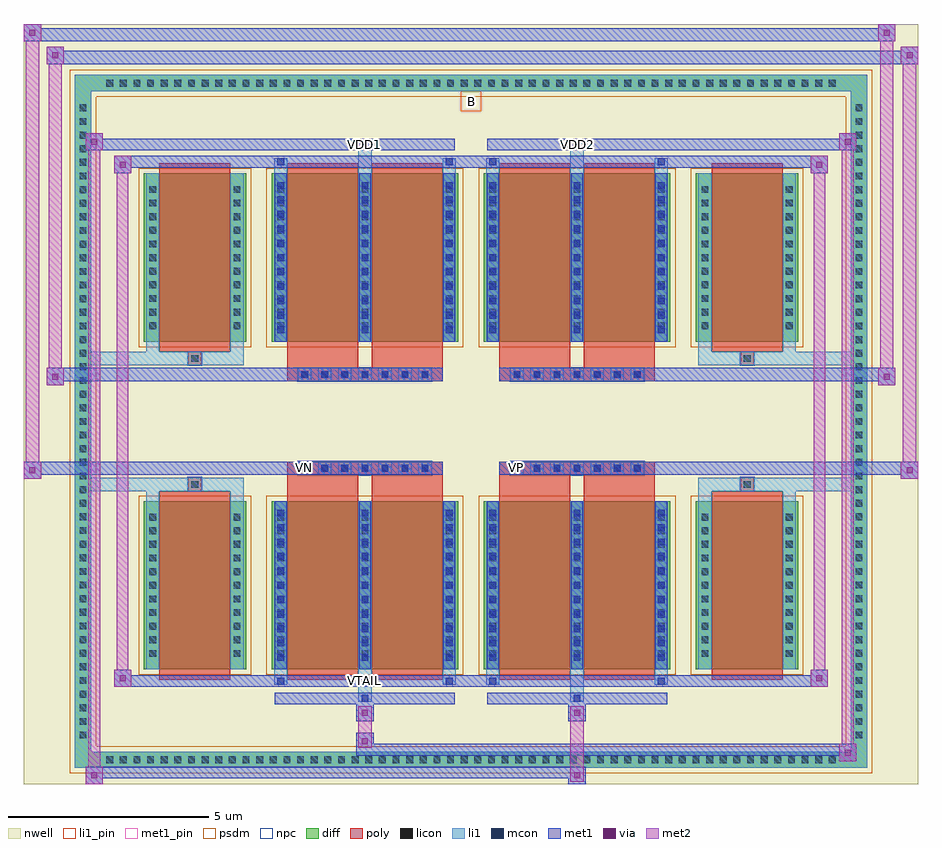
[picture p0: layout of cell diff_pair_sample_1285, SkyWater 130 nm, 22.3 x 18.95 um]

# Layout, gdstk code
import gdstk
lib = gdstk.Library(unit=1e-6, precision=5e-09)
def R(c, l, rs):  # rectangles x0, y0, x1, y1
    for r in rs: c.add(gdstk.rectangle(r[:2], r[2:], *l))
def A(c, l, x, y, w, h, nx, ny, dx, dy):  # array of equal rectangles
    R(c, l, [(x+i*dx, y+j*dy, x+i*dx+w, y+j*dy+h) for i in range(nx) for j in range(ny)])
def P(c, l, *ps):  # polygons
    for p in ps: c.add(gdstk.Polygon(p, *l))
nwell = (64, 20)
diff = (65, 20)
poly = (66, 20)
licon = (66, 44)
li1_pin = (67, 16)
li1 = (67, 20)
mcon = (67, 44)
met1_pin = (68, 16)
met1 = (68, 20)
via = (68, 44)
met2 = (69, 20)
psdm = (94, 20)
npc = (95, 20)

diff_pair_sample_1285 = lib.new_cell('diff_pair_sample_1285')
R(diff_pair_sample_1285, nwell, [(-11.15,-9.04,11.15,9.91), (-8.47,-7.23,-0.01,-0.805), (0.01,-7.23,8.47,-0.805), (-8.47,0.805,-0.01,7.23), (0.01,0.805,8.47,7.23)])
A(diff_pair_sample_1285, diff, -9.215, -8.64, 0.41, 0.41, 54, 2, 0.34, 16.87)
A(diff_pair_sample_1285, diff, -9.88, -8.025, 0.41, 0.41, 1, 47, 0, 0.34)
A(diff_pair_sample_1285, diff, 9.47, -8.025, 0.41, 0.41, 1, 47, 0, 0.34)
R(diff_pair_sample_1285, diff, [(-9.215,-8.64,9.215,-8.23), (-9.88,-8.025,-9.47,8.025), (9.47,-8.025,9.88,8.025), (-8.16,-6.185,-5.61,-1.985), (-4.97,-6.185,-0.32,-1.985), (0.32,-6.185,4.97,-1.985), (5.61,-6.185,8.16,-1.985), (-8.16,1.985,-5.61,6.185), (-4.97,1.985,-0.32,6.185), (0.32,1.985,4.97,6.185), (5.61,1.985,8.16,6.185), (-9.215,8.23,9.215,8.64)])
P(diff_pair_sample_1285, diff, [(9.88,8.64),(-9.88,8.64),(-9.88,-8.23),(-9.47,-8.23),(-9.47,8.23),(9.47,8.23),(9.47,-8.23),(-9.47,-8.23),(-9.88,-8.23),(-9.88,-8.64),(9.88,-8.64)])
A(diff_pair_sample_1285, poly, -4.31, -1.335, 0.33, 0.33, 7, 2, 0.5, 2.34)
A(diff_pair_sample_1285, poly, 0.98, -1.335, 0.33, 0.33, 7, 2, 0.5, 2.34)
R(diff_pair_sample_1285, poly, [(-7.77,-6.435,-6,-1.735), (-4.58,-6.435,-2.81,-1.735), (-2.48,-6.435,-0.71,-1.735), (0.71,-6.435,2.48,-1.735), (2.81,-6.435,4.58,-1.735), (6,-6.435,7.77,-1.735), (-7.05,-1.735,-6.72,-1.405), (-7.05,-1.735,-6.72,-1.405), (-4.58,-1.735,-2.81,-1.335), (-2.48,-1.735,-0.71,-1.335), (0.71,-1.735,2.48,-1.335), (2.81,-1.735,4.58,-1.335), (6.72,-1.735,7.05,-1.405), (6.72,-1.735,7.05,-1.405), (-4.58,-1.335,-0.71,-1.005), (0.71,-1.335,4.58,-1.005), (-4.58,1.005,-0.71,1.335), (0.71,1.005,4.58,1.335), (-4.58,1.335,-2.81,1.735), (-2.48,1.335,-0.71,1.735), (0.71,1.335,2.48,1.735), (2.81,1.335,4.58,1.735), (-7.05,1.405,-6.72,1.735), (-7.05,1.405,-6.72,1.735), (6.72,1.405,7.05,1.735), (6.72,1.405,7.05,1.735), (-7.77,1.735,-6,6.435), (-4.58,1.735,-2.81,6.435), (-2.48,1.735,-0.71,6.435), (0.71,1.735,2.48,6.435), (2.81,1.735,4.58,6.435), (6,1.735,7.77,6.435)])
A(diff_pair_sample_1285, licon, -9.095, -8.52, 0.17, 0.17, 54, 2, 0.34, 16.87)
A(diff_pair_sample_1285, licon, -9.76, -7.905, 0.17, 0.17, 1, 47, 0, 0.34)
A(diff_pair_sample_1285, licon, 9.59, -7.905, 0.17, 0.17, 1, 47, 0, 0.34)
A(diff_pair_sample_1285, licon, -8.02, -5.87, 0.17, 0.17, 1, 11, 0, 0.34)
A(diff_pair_sample_1285, licon, -5.92, -5.87, 0.17, 0.17, 1, 11, 0, 0.34)
A(diff_pair_sample_1285, licon, -4.83, -5.87, 0.17, 0.17, 3, 11, 2.1, 0.34)
A(diff_pair_sample_1285, licon, 0.46, -5.87, 0.17, 0.17, 3, 11, 2.1, 0.34)
A(diff_pair_sample_1285, licon, 5.75, -5.87, 0.17, 0.17, 1, 11, 0, 0.34)
A(diff_pair_sample_1285, licon, 7.85, -5.87, 0.17, 0.17, 1, 11, 0, 0.34)
A(diff_pair_sample_1285, licon, -4.23, -1.255, 0.17, 0.17, 7, 2, 0.5, 2.34)
A(diff_pair_sample_1285, licon, 1.06, -1.255, 0.17, 0.17, 7, 2, 0.5, 2.34)
A(diff_pair_sample_1285, licon, -8.02, 2.3, 0.17, 0.17, 1, 11, 0, 0.34)
A(diff_pair_sample_1285, licon, -5.92, 2.3, 0.17, 0.17, 1, 11, 0, 0.34)
A(diff_pair_sample_1285, licon, -4.83, 2.3, 0.17, 0.17, 3, 11, 2.1, 0.34)
A(diff_pair_sample_1285, licon, 0.46, 2.3, 0.17, 0.17, 3, 11, 2.1, 0.34)
A(diff_pair_sample_1285, licon, 5.75, 2.3, 0.17, 0.17, 1, 11, 0, 0.34)
A(diff_pair_sample_1285, licon, 7.85, 2.3, 0.17, 0.17, 1, 11, 0, 0.34)
R(diff_pair_sample_1285, licon, [(-6.97,-1.655,-6.8,-1.485), (6.8,-1.655,6.97,-1.485), (-6.97,1.485,-6.8,1.655), (6.8,1.485,6.97,1.655)])
R(diff_pair_sample_1285, li1_pin, [(-0.25,7.73,0.25,8.23)])
A(diff_pair_sample_1285, li1, -9.175, -8.6, 0.33, 0.33, 54, 2, 0.34, 16.87)
A(diff_pair_sample_1285, li1, -9.84, -7.985, 0.33, 0.33, 1, 47, 0, 0.34)
A(diff_pair_sample_1285, li1, 9.51, -7.985, 0.33, 0.33, 1, 47, 0, 0.34)
A(diff_pair_sample_1285, li1, -4.91, -6.185, 0.33, 4.2, 3, 2, 2.1, 8.17)
A(diff_pair_sample_1285, li1, 0.38, -6.185, 0.33, 4.2, 3, 2, 2.1, 8.17)
A(diff_pair_sample_1285, li1, -4.83, -5.97, 0.17, 0.17, 3, 11, 2.1, 0.36)
A(diff_pair_sample_1285, li1, -4.83, -5.97, 0.17, 3.77, 3, 2, 2.1, 8.17)
A(diff_pair_sample_1285, li1, 0.46, -5.97, 0.17, 0.17, 3, 11, 2.1, 0.36)
A(diff_pair_sample_1285, li1, 0.46, -5.97, 0.17, 3.77, 3, 2, 2.1, 8.17)
A(diff_pair_sample_1285, li1, -8.1, -5.95, 0.33, 0.33, 1, 11, 0, 0.34)
A(diff_pair_sample_1285, li1, -6, -5.95, 0.33, 0.33, 1, 11, 0, 0.34)
A(diff_pair_sample_1285, li1, -4.91, -5.95, 0.33, 0.33, 3, 11, 2.1, 0.34)
A(diff_pair_sample_1285, li1, 0.38, -5.95, 0.33, 0.33, 3, 11, 2.1, 0.34)
A(diff_pair_sample_1285, li1, 5.67, -5.95, 0.33, 0.33, 1, 11, 0, 0.34)
A(diff_pair_sample_1285, li1, 7.77, -5.95, 0.33, 0.33, 1, 11, 0, 0.34)
A(diff_pair_sample_1285, li1, -4.31, -1.335, 0.33, 0.33, 7, 2, 0.5, 2.34)
A(diff_pair_sample_1285, li1, 0.98, -1.335, 0.33, 0.33, 7, 2, 0.5, 2.34)
A(diff_pair_sample_1285, li1, -4.83, 2.2, 0.17, 0.17, 3, 11, 2.1, 0.36)
A(diff_pair_sample_1285, li1, 0.46, 2.2, 0.17, 0.17, 3, 11, 2.1, 0.36)
A(diff_pair_sample_1285, li1, -8.1, 2.22, 0.33, 0.33, 1, 11, 0, 0.34)
A(diff_pair_sample_1285, li1, -6, 2.22, 0.33, 0.33, 1, 11, 0, 0.34)
A(diff_pair_sample_1285, li1, -4.91, 2.22, 0.33, 0.33, 3, 11, 2.1, 0.34)
A(diff_pair_sample_1285, li1, 0.38, 2.22, 0.33, 0.33, 3, 11, 2.1, 0.34)
A(diff_pair_sample_1285, li1, 5.67, 2.22, 0.33, 0.33, 1, 11, 0, 0.34)
A(diff_pair_sample_1285, li1, 7.77, 2.22, 0.33, 0.33, 1, 11, 0, 0.34)
R(diff_pair_sample_1285, li1, [(-9.88,-8.64,-9.47,-8.23), (-9.88,-8.64,-9.47,-8.23), (-9.47,-8.64,9.47,-8.23), (9.47,-8.64,9.88,-8.23), (9.47,-8.64,9.88,-8.23), (-9.88,-8.23,-9.47,8.23), (9.47,-8.23,9.88,8.23), (-2.81,-6.99,-2.48,-6.185), (-2.73,-6.99,-2.56,-6.82), (2.48,-6.99,2.81,-6.185), (2.56,-6.99,2.73,-6.82), (-4.91,-6.56,-4.58,-6.185), (-4.83,-6.56,-4.66,-6.39), (-0.71,-6.56,-0.38,-6.185), (-0.63,-6.56,-0.46,-6.39), (0.38,-6.56,0.71,-6.185), (0.46,-6.56,0.63,-6.39), (4.58,-6.56,4.91,-6.185), (4.66,-6.56,4.83,-6.39), (-8.1,-6.185,-7.77,-1.985), (-6,-6.185,-5.67,-1.985), (5.67,-6.185,6,-1.985), (7.77,-6.185,8.1,-1.985), (-8.1,-1.985,-7.77,-1.405), (-6,-1.985,-5.67,-1.405), (5.67,-1.985,6,-1.405), (7.77,-1.985,8.1,-1.405), (-9.88,-1.735,-7.05,-1.405), (-8.1,-1.735,-7.05,-1.405), (-7.05,-1.735,-6.72,-1.405), (-6.72,-1.735,-5.67,-1.405), (5.67,-1.735,6.72,-1.405), (6.72,-1.735,7.05,-1.405), (6.72,-1.735,9.88,-1.405), (7.05,-1.735,8.1,-1.405), (-9.88,1.405,-7.05,1.735), (-8.1,1.405,-7.05,1.735), (-8.1,1.405,-7.77,1.985), (-7.05,1.405,-6.72,1.735), (-6.72,1.405,-5.67,1.735), (-6,1.405,-5.67,1.985), (5.67,1.405,6.72,1.735), (5.67,1.405,6,1.985), (6.72,1.405,7.05,1.735), (6.72,1.405,9.88,1.735), (7.05,1.405,8.1,1.735), (7.77,1.405,8.1,1.985), (-8.1,1.985,-7.77,6.185), (-6,1.985,-5.67,6.185), (5.67,1.985,6,6.185), (7.77,1.985,8.1,6.185), (-4.91,6.185,-4.58,6.56), (-2.81,6.185,-2.48,6.99), (-0.71,6.185,-0.38,6.56), (0.38,6.185,0.71,6.56), (2.48,6.185,2.81,6.99), (4.58,6.185,4.91,6.56), (-4.83,6.39,-4.66,6.56), (-0.63,6.39,-0.46,6.56), (0.46,6.39,0.63,6.56), (4.66,6.39,4.83,6.56), (-2.73,6.82,-2.56,6.99), (2.56,6.82,2.73,6.99), (-9.88,8.23,-9.47,8.64), (-9.88,8.23,-9.47,8.64), (-9.47,8.23,9.47,8.64), (9.47,8.23,9.88,8.64), (9.47,8.23,9.88,8.64)])
A(diff_pair_sample_1285, mcon, -4.83, -5.97, 0.17, 0.17, 3, 11, 2.1, 0.36)
A(diff_pair_sample_1285, mcon, 0.46, -5.97, 0.17, 0.17, 3, 11, 2.1, 0.36)
A(diff_pair_sample_1285, mcon, -4.23, -1.255, 0.17, 0.17, 7, 2, 0.5, 2.34)
A(diff_pair_sample_1285, mcon, 1.06, -1.255, 0.17, 0.17, 7, 2, 0.5, 2.34)
A(diff_pair_sample_1285, mcon, -4.83, 2.2, 0.17, 0.17, 3, 11, 2.1, 0.36)
A(diff_pair_sample_1285, mcon, 0.46, 2.2, 0.17, 0.17, 3, 11, 2.1, 0.36)
R(diff_pair_sample_1285, mcon, [(-2.73,-6.99,-2.56,-6.82), (2.56,-6.99,2.73,-6.82), (-4.83,-6.56,-4.66,-6.39), (-0.63,-6.56,-0.46,-6.39), (0.46,-6.56,0.63,-6.39), (4.66,-6.56,4.83,-6.39), (-4.83,6.39,-4.66,6.56), (-0.63,6.39,-0.46,6.56), (0.46,6.39,0.63,6.56), (4.66,6.39,4.83,6.56), (-2.73,6.82,-2.56,6.99), (2.56,6.82,2.73,6.99)])
R(diff_pair_sample_1285, met1_pin, [(-2.78,-6.6,-2.51,-6.33), (-4.28,-1.295,-4.01,-1.025), (1.01,-1.295,1.28,-1.025), (-2.78,6.78,-2.51,7.05), (2.51,6.78,2.78,7.05)])
A(diff_pair_sample_1285, met1, -4.89, -6.185, 0.29, 4.2, 3, 2, 2.1, 8.17)
A(diff_pair_sample_1285, met1, 0.4, -6.185, 0.29, 4.2, 3, 2, 2.1, 8.17)
A(diff_pair_sample_1285, met1, -4.89, -6.03, 0.29, 0.29, 3, 11, 2.1, 0.36)
A(diff_pair_sample_1285, met1, 0.4, -6.03, 0.29, 0.29, 3, 11, 2.1, 0.36)
A(diff_pair_sample_1285, met1, -4.29, -1.315, 0.29, 0.29, 7, 2, 0.5, 2.34)
A(diff_pair_sample_1285, met1, 1, -1.315, 0.29, 0.29, 7, 2, 0.5, 2.34)
A(diff_pair_sample_1285, met1, -4.89, 2.14, 0.29, 0.29, 3, 11, 2.1, 0.36)
A(diff_pair_sample_1285, met1, 0.4, 2.14, 0.29, 0.29, 3, 11, 2.1, 0.36)
R(diff_pair_sample_1285, met1, [(-9.61,-9.04,-9.18,-8.61), (2.43,-9.04,2.86,-8.61), (-9.61,-8.9,2.86,-8.61), (9.18,-8.47,9.61,-8.04), (-2.86,-8.33,9.61,-8.04), (-2.86,-8.19,-2.43,-7.76), (-2.86,-7.48,-2.43,-7.05), (2.43,-7.48,2.86,-7.05), (-4.89,-7.05,-0.4,-6.76), (-2.79,-7.05,-2.5,-6.76), (0.4,-7.05,4.89,-6.76), (2.5,-7.05,2.79,-6.76), (-8.9,-6.62,-8.47,-6.19), (-8.9,-6.62,-4.89,-6.33), (-4.89,-6.62,-4.6,-6.33), (-4.89,-6.62,-0.4,-6.33), (-0.69,-6.62,-0.4,-6.33), (-0.4,-6.62,0.4,-6.33), (0.4,-6.62,0.69,-6.33), (0.4,-6.62,4.89,-6.33), (4.6,-6.62,4.89,-6.33), (4.89,-6.62,8.9,-6.33), (8.47,-6.62,8.9,-6.19), (-11.15,-1.435,-10.72,-1.005), (10.72,-1.435,11.15,-1.005), (-11.15,-1.335,-0.71,-1.005), (-4.58,-1.335,-0.71,-1.005), (0.71,-1.335,4.58,-1.005), (0.71,-1.335,11.15,-1.005), (-10.58,0.905,-10.15,1.335), (10.15,0.905,10.58,1.335), (-10.58,1.005,-4.58,1.335), (-4.58,1.005,-0.71,1.335), (0.71,1.005,4.58,1.335), (4.58,1.005,10.58,1.335), (-8.9,6.19,-8.47,6.62), (8.47,6.19,8.9,6.62), (-8.9,6.33,-4.89,6.62), (-4.89,6.33,-4.6,6.62), (-4.89,6.33,-0.4,6.62), (-0.69,6.33,-0.4,6.62), (-0.4,6.33,0.4,6.62), (0.4,6.33,0.69,6.62), (0.4,6.33,4.89,6.62), (4.6,6.33,4.89,6.62), (4.89,6.33,8.9,6.62), (-9.61,6.76,-9.18,7.19), (-9.61,6.76,-4.89,7.05), (-4.89,6.76,-0.4,7.05), (-2.79,6.76,-2.5,7.05), (0.4,6.76,4.89,7.05), (2.5,6.76,2.79,7.05), (4.89,6.76,9.61,7.05), (9.18,6.76,9.61,7.19), (-10.58,8.91,-10.15,9.34), (-10.58,8.91,-8.47,9.24), (-8.47,8.91,8.47,9.24), (8.47,8.91,11.15,9.24), (10.72,8.91,11.15,9.34), (-11.15,9.48,-10.72,9.91), (-11.15,9.48,-8.47,9.81), (-8.47,9.48,8.47,9.81), (8.47,9.48,10.58,9.81), (10.15,9.48,10.58,9.91)])
R(diff_pair_sample_1285, via, [(-9.47,-8.9,-9.32,-8.75), (2.57,-8.9,2.72,-8.75), (9.32,-8.33,9.47,-8.18), (-2.72,-8.05,-2.57,-7.9), (-2.72,-7.34,-2.57,-7.19), (2.57,-7.34,2.72,-7.19), (-8.76,-6.48,-8.61,-6.33), (8.61,-6.48,8.76,-6.33), (-11.01,-1.295,-10.86,-1.145), (10.86,-1.295,11.01,-1.145), (-10.44,1.045,-10.29,1.195), (10.29,1.045,10.44,1.195), (-8.76,6.33,-8.61,6.48), (8.61,6.33,8.76,6.48), (-9.47,6.9,-9.32,7.05), (9.32,6.9,9.47,7.05), (-10.44,9.05,-10.29,9.2), (10.86,9.05,11.01,9.2), (-11.01,9.62,-10.86,9.77), (10.29,9.62,10.44,9.77)])
R(diff_pair_sample_1285, met2, [(-9.61,-9.04,-9.18,-8.61), (-9.54,-9.04,-9.25,7.19), (-9.25,-9.04,-9.18,-8.61), (-9.56,-8.99,-9.23,-8.66), (2.48,-8.99,2.81,-8.66), (2.48,-8.66,2.81,-7.43), (9.18,-8.47,9.61,-8.04), (9.25,-8.47,9.54,7.19), (9.54,-8.47,9.61,-8.04), (9.23,-8.42,9.56,-8.09), (-2.81,-8.14,-2.48,-7.81), (-2.81,-7.81,-2.48,-7.43), (-2.81,-7.43,-2.48,-7.1), (2.48,-7.43,2.81,-7.1), (-8.9,-6.62,-8.47,-6.19), (-8.83,-6.62,-8.54,6.62), (-8.54,-6.62,-8.47,-6.19), (8.47,-6.62,8.9,-6.19), (8.54,-6.62,8.83,6.62), (8.83,-6.62,8.9,-6.19), (-8.85,-6.57,-8.52,-6.24), (8.52,-6.57,8.85,-6.24), (-11.15,-1.435,-10.72,-1.005), (-11.1,-1.435,-10.77,9.91), (-10.77,-1.435,-10.72,-1.005), (10.72,-1.435,11.15,-1.005), (10.77,-1.435,11.1,9.34), (11.1,-1.435,11.15,-1.005), (-11.1,-1.385,-10.77,-1.055), (10.77,-1.385,11.1,-1.055), (-10.58,0.905,-10.15,1.335), (-10.53,0.905,-10.2,9.34), (-10.2,0.905,-10.15,1.335), (10.15,0.905,10.58,1.335), (10.2,0.905,10.53,9.91), (10.53,0.905,10.58,1.335), (-10.53,0.955,-10.2,1.285), (10.2,0.955,10.53,1.285), (-8.9,6.19,-8.47,6.62), (-8.54,6.19,-8.47,6.62), (8.47,6.19,8.9,6.62), (8.83,6.19,8.9,6.62), (-8.85,6.24,-8.52,6.57), (8.52,6.24,8.85,6.57), (-9.61,6.76,-9.18,7.19), (-9.25,6.76,-9.18,7.19), (9.18,6.76,9.61,7.19), (9.54,6.76,9.61,7.19), (-9.56,6.81,-9.23,7.14), (9.23,6.81,9.56,7.14), (-10.58,8.91,-10.15,9.34), (-10.2,8.91,-10.15,9.34), (10.72,8.91,11.15,9.34), (11.1,8.91,11.15,9.34), (-10.53,8.96,-10.2,9.29), (10.77,8.96,11.1,9.29), (-11.15,9.48,-10.72,9.91), (-10.77,9.48,-10.72,9.91), (10.15,9.48,10.58,9.91), (10.53,9.48,10.58,9.91), (-11.1,9.53,-10.77,9.86), (10.2,9.53,10.53,9.86)])
R(diff_pair_sample_1285, psdm, [(-8.29,-6.315,-5.48,-1.855), (-5.1,-6.315,-0.19,-1.855), (0.19,-6.315,5.1,-1.855), (5.48,-6.315,8.29,-1.855), (-8.29,1.855,-5.48,6.315), (-5.1,1.855,-0.19,6.315), (0.19,1.855,5.1,6.315), (5.48,1.855,8.29,6.315)])
P(diff_pair_sample_1285, psdm, [(10.01,8.77),(-10.01,8.77),(-10.01,-8.1),(-9.34,-8.1),(-9.34,8.1),(9.34,8.1),(9.34,-8.1),(-9.34,-8.1),(-10.01,-8.1),(-10.01,-8.77),(10.01,-8.77)])
A(diff_pair_sample_1285, npc, -4.33, -1.355, 0.37, 0.37, 7, 2, 0.5, 2.34)
A(diff_pair_sample_1285, npc, 0.96, -1.355, 0.37, 0.37, 7, 2, 0.5, 2.34)
R(diff_pair_sample_1285, npc, [(-7.07,-1.755,-6.7,-1.385), (6.7,-1.755,7.07,-1.385), (-4.33,-1.355,-3.46,-0.985), (-4.33,-1.355,-3.46,-0.985), (-3.83,-1.355,-2.96,-0.985), (-3.83,-1.355,-2.96,-0.985), (-3.33,-1.355,-2.46,-0.985), (-3.33,-1.355,-2.46,-0.985), (-2.83,-1.355,-1.96,-0.985), (-2.83,-1.355,-1.96,-0.985), (-2.33,-1.355,-1.46,-0.985), (-2.33,-1.355,-1.46,-0.985), (-1.83,-1.355,-0.96,-0.985), (-1.83,-1.355,-0.96,-0.985), (0.96,-1.355,1.83,-0.985), (0.96,-1.355,1.83,-0.985), (1.46,-1.355,2.33,-0.985), (1.46,-1.355,2.33,-0.985), (1.96,-1.355,2.83,-0.985), (1.96,-1.355,2.83,-0.985), (2.46,-1.355,3.33,-0.985), (2.46,-1.355,3.33,-0.985), (2.96,-1.355,3.83,-0.985), (2.96,-1.355,3.83,-0.985), (3.46,-1.355,4.33,-0.985), (3.46,-1.355,4.33,-0.985), (-4.33,0.985,-3.46,1.355), (-4.33,0.985,-3.46,1.355), (-3.83,0.985,-2.96,1.355), (-3.83,0.985,-2.96,1.355), (-3.33,0.985,-2.46,1.355), (-3.33,0.985,-2.46,1.355), (-2.83,0.985,-1.96,1.355), (-2.83,0.985,-1.96,1.355), (-2.33,0.985,-1.46,1.355), (-2.33,0.985,-1.46,1.355), (-1.83,0.985,-0.96,1.355), (-1.83,0.985,-0.96,1.355), (0.96,0.985,1.83,1.355), (0.96,0.985,1.83,1.355), (1.46,0.985,2.33,1.355), (1.46,0.985,2.33,1.355), (1.96,0.985,2.83,1.355), (1.96,0.985,2.83,1.355), (2.46,0.985,3.33,1.355), (2.46,0.985,3.33,1.355), (2.96,0.985,3.83,1.355), (2.96,0.985,3.83,1.355), (3.46,0.985,4.33,1.355), (3.46,0.985,4.33,1.355), (-7.07,1.385,-6.7,1.755), (6.7,1.385,7.07,1.755)])
diff_pair_sample_1285.add(gdstk.Label('VTAIL', (-2.645,-6.465), layer=68, texttype=5))
diff_pair_sample_1285.add(gdstk.Label('VN', (-4.145,-1.16), layer=68, texttype=5))
diff_pair_sample_1285.add(gdstk.Label('VP', (1.145,-1.16), layer=68, texttype=5))
diff_pair_sample_1285.add(gdstk.Label('B', (0,7.98), layer=67, texttype=5))
diff_pair_sample_1285.add(gdstk.Label('VDD2', (2.645,6.915), layer=68, texttype=5))
diff_pair_sample_1285.add(gdstk.Label('VDD1', (-2.645,6.915), layer=68, texttype=5))

lib.write_gds('diff_pair_sample_1285.gds')
